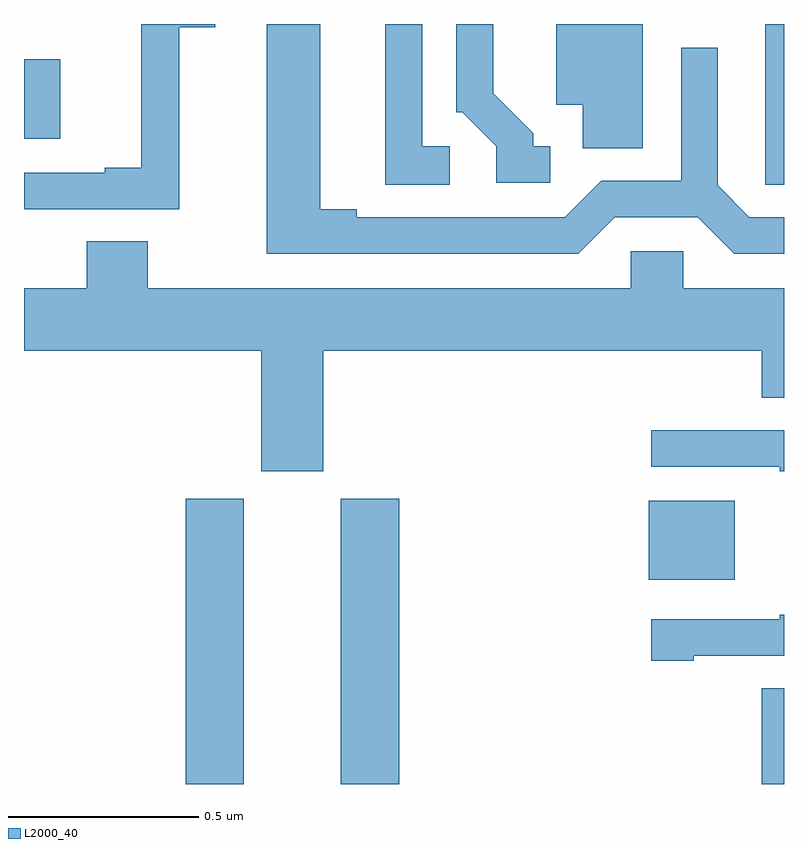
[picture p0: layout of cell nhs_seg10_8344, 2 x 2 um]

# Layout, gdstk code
import gdstk
lib = gdstk.Library(unit=1e-6, precision=1e-09)
def R(c, l, rs):  # rectangles x0, y0, x1, y1
    for r in rs: c.add(gdstk.rectangle(r[:2], r[2:], *l))
def P(c, l, *ps):  # polygons
    for p in ps: c.add(gdstk.Polygon(p, *l))
L2000_40 = (2000, 40)

nhs_seg10_8344 = lib.new_cell('nhs_seg10_8344')
R(nhs_seg10_8344, L2000_40, [(215.426,1308.5,215.578,1309.251), (215.834,1308.5,215.987,1309.251), (216.941,1308.5,217,1308.752), (216.644,1309.037,216.871,1309.246), (215,1310.198,215.095,1310.407)])
P(nhs_seg10_8344, L2000_40, [(215.409,1310.491),(215.503,1310.491),(215.503,1310.5),(215.213,1310.5),(215.213,1310.499),(215.309,1310.499),(215.309,1310.122),(215.213,1310.122),(215.213,1310.109),(215,1310.109),(215,1310.013),(215.409,1310.013)],
  [(216.121,1310.178),(216.048,1310.178),(216.048,1310.5),(215.951,1310.5),(215.951,1310.077),(216.121,1310.077)],
  [(216.628,1310.5),(216.401,1310.5),(216.401,1310.288),(216.47,1310.288),(216.47,1310.173),(216.628,1310.173)],
  [(216.555,1309.992),(216.773,1309.992),(216.869,1309.896),(217,1309.896),(217,1309.992),(216.909,1309.992),(216.825,1310.076),(216.825,1310.437),(216.729,1310.437),(216.729,1310.088),(216.519,1310.088),(216.423,1309.992),(215.875,1309.992),(215.875,1310.012),(215.779,1310.012),(215.779,1310.5),(215.639,1310.5),(215.639,1309.896),(216.459,1309.896)],
  [(216.385,1310.178),(216.34,1310.178),(216.34,1310.213),(216.235,1310.318),(216.235,1310.5),(216.138,1310.5),(216.138,1310.268),(216.153,1310.268),(216.243,1310.178),(216.243,1310.082),(216.385,1310.082)],
  [(217,1310.5),(216.95,1310.5),(216.95,1310.185),(216.951,1310.185),(216.951,1310.077),(217,1310.077)],
  [(215.788,1309.64),(216.941,1309.64),(216.941,1309.516),(217,1309.516),(217,1309.804),(216.735,1309.804),(216.735,1309.902),(216.597,1309.902),(216.597,1309.804),(215.325,1309.804),(215.325,1309.928),(215.165,1309.928),(215.165,1309.804),(215,1309.804),(215,1309.64),(215.624,1309.64),(215.624,1309.323),(215.788,1309.323)],
  [(217,1309.431),(216.651,1309.431),(216.651,1309.335),(216.989,1309.335),(216.989,1309.323),(217,1309.323)],
  [(216.763,1308.837),(217,1308.837),(217,1308.946),(216.989,1308.946),(216.989,1308.933),(216.651,1308.933),(216.651,1308.825),(216.763,1308.825)])

lib.write_gds('nhs_seg10_8344.gds')
